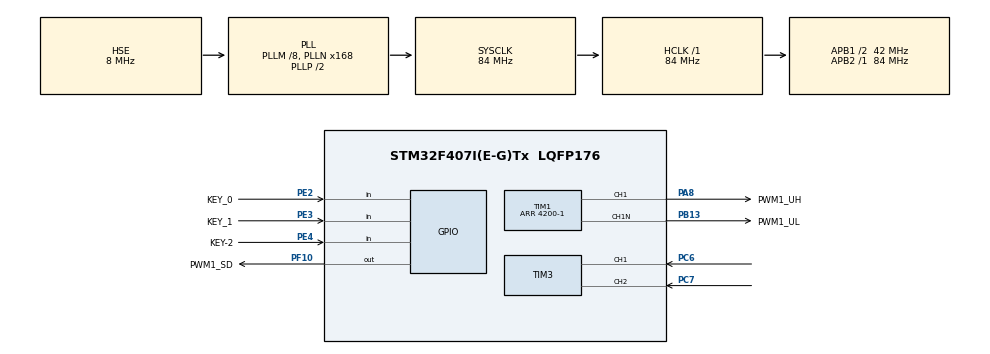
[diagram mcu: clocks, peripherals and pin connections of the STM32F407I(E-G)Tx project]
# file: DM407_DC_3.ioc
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Mcu.Family=STM32F4
Mcu.Name=STM32F407I(E-G)Tx
Mcu.Package=LQFP176
NVIC.PriorityGroup=NVIC_PRIORITYGROUP_4
NVIC.TIM6_DAC_IRQn=true\:0\:0\:false\:false\:true\:true\:true\:true
PA13.Mode=Serial_Wire
PA13.Signal=SYS_JTMS-SWDIO
PA14.Mode=Serial_Wire
PA14.Signal=SYS_JTCK-SWCLK
PA8.GPIO_Label=PWM1_UH
PA8.GPIO_Speed=GPIO_SPEED_FREQ_HIGH
PA8.Signal=S_TIM1_CH1
PB13.GPIO_Label=PWM1_UL
PB13.GPIO_Speed=GPIO_SPEED_FREQ_HIGH
PB13.Mode=PWM Generation1 CH1 CH1N
PB13.Signal=TIM1_CH1N
PC6.Signal=S_TIM3_CH1
PC7.Signal=S_TIM3_CH2
PE2.GPIO_Label=KEY_0
PE2.GPIO_PuPd=GPIO_PULLUP
PE2.Signal=GPIO_Input
PE3.GPIO_Label=KEY_1
PE3.GPIO_PuPd=GPIO_PULLUP
PE3.Signal=GPIO_Input
PE4.GPIO_Label=KEY-2
PE4.GPIO_PuPd=GPIO_PULLUP
PE4.Signal=GPIO_Input
PF10.GPIO_Label=PWM1_SD
PF10.GPIO_Speed=GPIO_SPEED_FREQ_HIGH
PF10.PinState=GPIO_PIN_RESET
PF10.Signal=GPIO_Output
PH0-OSC_IN.Mode=HSE-External-Oscillator
PH0-OSC_IN.Signal=RCC_OSC_IN
PH1-OSC_OUT.Mode=HSE-External-Oscillator
PH1-OSC_OUT.Signal=RCC_OSC_OUT
ProjectManager.HeapSize=0x200
ProjectManager.StackSize=0x400
ProjectManager.TargetToolchain=MDK-ARM V5.32
RCC.48MHZClocksFreq_Value=42000000
RCC.AHBFreq_Value=84000000
RCC.APB1CLKDivider=RCC_HCLK_DIV2
RCC.APB1Freq_Value=42000000
RCC.APB1TimFreq_Value=84000000
RCC.APB2Freq_Value=84000000
RCC.APB2TimFreq_Value=84000000
RCC.CortexFreq_Value=84000000
RCC.HCLKFreq_Value=84000000
RCC.HSE_VALUE=8000000
RCC.HSI_VALUE=16000000
RCC.LSE_VALUE=32768
RCC.PLLM=8
RCC.PLLN=168
RCC.PLLSourceVirtual=RCC_PLLSOURCE_HSE
RCC.SYSCLKFreq_VALUE=84000000
RCC.SYSCLKSource=RCC_SYSCLKSOURCE_PLLCLK
RCC.VCOOutputFreq_Value=168000000
SH.S_TIM1_CH1.0=TIM1_CH1,PWM Generation1 CH1 CH1N
SH.S_TIM3_CH1.0=TIM3_CH1,Encoder_Interface
SH.S_TIM3_CH2.0=TIM3_CH2,Encoder_Interface
TIM1.Channel-PWM\ Generation1\ CH1\ CH1N=TIM_CHANNEL_1
TIM1.ClockDivision=TIM_CLOCKDIVISION_DIV4
TIM1.OCNPolarity_1=TIM_OCNPOLARITY_LOW
TIM1.OCPolarity_1=TIM_OCPOLARITY_LOW
TIM1.OffStateRunMode=TIM_OSSR_ENABLE
TIM1.Period=4200-1
TIM3.EncoderMode=TIM_ENCODERMODE_TI12
TIM3.IC1Filter=10
TIM3.IC2Filter=10
TIM6.Period=1000-1
TIM6.Prescaler=84-1
VP_TIM6_VS_ClockSourceINT.Mode=Enable_Timer
board=custom

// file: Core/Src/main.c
/* USER CODE BEGIN Header */
/**
  ******************************************************************************
  * @file           : main.c
  * @brief          : Main program body
  ******************************************************************************
  * @attention
  *
  * Copyright (c) 2026 STMicroelectronics.
  * All rights reserved.
  *
  * This software is licensed under terms that can be found in the LICENSE file
  * in the root directory of this software component.
  * If no LICENSE file comes with this software, it is provided AS-IS.
  *
  ******************************************************************************
  */
/* USER CODE END Header */
#include "main.h"
#include "tim.h"
#include "gpio.h"
#include "pid.h"

/* USER CODE BEGIN PTD */
typedef enum
{
    MOTOR_STOP = 0,
    MOTOR_FORWARD,
    MOTOR_REVERSE
} MotorState;

/* USER CODE END PTD */

/* USER CODE BEGIN PD */
#define MOTOR_STP 400
#define MOTOR_MAX 4180
#define SPEED_STEP   30.0f     /* 每按一次，目标转速变化 30 RPM */
#define SPEED_MAX    300.0f    /* 目标转速上限 */
#define ENCODER_LINES 11.0f  /*编码器脉冲数*/
#define ENCODER_MUL    4.0f  /*编码器倍频数*/
#define MOTOR_GEAR_RATIO  30.0f /*电机减速比*/
#define COUNTS_PER_REV (ENCODER_LINES*ENCODER_MUL*MOTOR_GEAR_RATIO)  /*定时器TIM3计数个数*/
#define SPEED_SAMPLE_MS    50U     /* 每50 ms计算一次速度 */

/* USER CODE END PD */

/* USER CODE BEGIN PV */
static MotorState g_motor_state=MOTOR_STOP;
/* 上一次读取的编码器计数 */
static int16_t encoder_last = 0;

/* 最近50 ms内的编码器计数变化，方便调试观察 */
volatile int16_t g_encoder_delta = 0;

/* 最终计算得到的电机转速，单位RPM */
volatile float g_motor_speed_rpm = 0.0f;

/* PID 输出的 PWM 比较值，由 TIM6 中断写入 */
volatile int16_t g_motor_pwm = 0;

/* 1 = 允许闭环输出，0 = 禁止 */
volatile uint8_t g_run_flag = 0;
/* USER CODE END PV */

void SystemClock_Config(void);
/* USER CODE BEGIN PFP */

void Motor_Init(void);
void Motor_Start(void);
void Motor_Stop(void);
void Motor_SetDir(MotorState state);
void Motor_SetSpeed(uint16_t speed);
void Motor_Control(MotorState state, uint16_t speed);
uint8_t Key_Pressed(GPIO_TypeDef *GPIOx, uint16_t GPIO_Pin);
void Motor_pwm_set(int16_t motor_pwm);
void Motor_ApplyTarget(void);
/* USER CODE END PFP */

/* USER CODE BEGIN 0 */
void Motor_Init(void)
{
	 Motor_Stop();
	 Motor_SetSpeed(0);
	 g_motor_state = MOTOR_STOP;
}
void Motor_Start(void)
{
	HAL_GPIO_WritePin(PWM1_SD_GPIO_Port,PWM1_SD_Pin,GPIO_PIN_SET);
}
void Motor_Stop(void)
{
	HAL_TIM_PWM_Stop(&htim1,TIM_CHANNEL_1);
	HAL_TIMEx_PWMN_Stop(&htim1,TIM_CHANNEL_1);
    HAL_GPIO_WritePin(PWM1_SD_GPIO_Port,PWM1_SD_Pin, GPIO_PIN_RESET);
    g_motor_state=MOTOR_STOP;
}
/*
		方向控制函数
*/
void Motor_SetDir(MotorState state)
{
		HAL_TIM_PWM_Stop(&htim1, TIM_CHANNEL_1);
    HAL_TIMEx_PWMN_Stop(&htim1, TIM_CHANNEL_1);

		if(state==MOTOR_FORWARD)
		{
			HAL_TIM_PWM_Start(&htim1,TIM_CHANNEL_1);/*正转*/
		}
		else if(state==MOTOR_REVERSE)
		{
			HAL_TIMEx_PWMN_Start(&htim1,TIM_CHANNEL_1);/*反转*/
		}
}
/*
控制转速函数
*/

void Motor_SetSpeed(uint16_t speed)
{
	uint32_t max_speed;
  max_speed = __HAL_TIM_GET_AUTORELOAD(&htim1) - 0x0F;
	if(speed>max_speed)
	{
		speed=max_speed;
	}
	 __HAL_TIM_SET_COMPARE(&htim1, TIM_CHANNEL_1,speed);
}
void Motor_Control(MotorState state, uint16_t speed)
{

    if ((state == MOTOR_STOP) || (speed == 0U))
    {
        Motor_Stop();
        return;
    }

    /* 方向不变时，只更新速度，不重复启动 PWM */
    if (state == g_motor_state)
    {
        Motor_SetSpeed(speed);
        return;
    }

    /* 正反转直接切换时，先停止并延时 */
    if (g_motor_state != MOTOR_STOP)
    {
        Motor_Stop();
        HAL_Delay(50);
    }

    Motor_SetSpeed(speed);
    Motor_SetDir(state);
    Motor_Start();

    g_motor_state = state;

}
uint8_t Key_Pressed(GPIO_TypeDef *GPIOx, uint16_t GPIO_Pin)
{
	if(HAL_GPIO_ReadPin(GPIOx,GPIO_Pin)==GPIO_PIN_RESET)
	{
		HAL_Delay(50);
		if(HAL_GPIO_ReadPin(GPIOx,GPIO_Pin)==GPIO_PIN_RESET)
		{
			return 1;
		}
	}
	return 0;
}
void Motor_pwm_set(int16_t motor_pwm)
{
	if(motor_pwm>0)
	{
	Motor_Control(MOTOR_FORWARD,motor_pwm);
	}
	else if(motor_pwm<0)
	{
	Motor_Control(MOTOR_REVERSE,-motor_pwm);
	}
	else
	{
	Motor_Control(MOTOR_STOP,0);
	}
}

/* 目标为 0 就停机并清空 PID，否则放开闭环，PWM 由 TIM6 中断里的 PID 决定 */
void Motor_ApplyTarget(void)
{
    if (g_speed_pid.SetPoint == 0.0f)
    {
        g_run_flag  = 0;
        g_motor_pwm = 0;
        Motor_pwm_set(0);
        pid_init();             /* 清积分和历史误差，SetPoint 本来就是 0 */
    }
    else
    {
        g_run_flag = 1;
    }
}
/* USER CODE END 0 */

int main(void)
{

  /* MCU Configuration--------------------------------------------------------*/

  /* Reset of all peripherals, Initializes the Flash interface and the Systick. */
  HAL_Init();

  /* Configure the system clock */
  SystemClock_Config();

  /* Initialize all configured peripherals */
  MX_GPIO_Init();
  MX_TIM3_Init();
  MX_TIM6_Init();
  MX_TIM1_Init();
  /* USER CODE BEGIN 2 */
  Motor_Init();
	pid_init();                 /* 初始化速度环 PID */
	if (HAL_TIM_Encoder_Start(&htim3, TIM_CHANNEL_ALL) != HAL_OK)
{
    Error_Handler();
}

/* 编码器计数从0开始 */
		__HAL_TIM_SET_COUNTER(&htim3, 0);
		encoder_last = 0;

/* 启动TIM6，并使能1 ms更新中断 */
if (HAL_TIM_Base_Start_IT(&htim6) != HAL_OK)
{
    Error_Handler();
}
  /* USER CODE END 2 */
  /* Infinite loop */
  /* USER CODE BEGIN WHILE */
  while (1)
  {
		if (Key_Pressed(GPIOE, KEY_0_Pin))
        {
             g_speed_pid.SetPoint += SPEED_STEP;
					if(g_speed_pid.SetPoint > SPEED_MAX)
					{
						g_speed_pid.SetPoint = SPEED_MAX;
					}
						Motor_ApplyTarget();
        }
        else if (Key_Pressed(GPIOE, KEY_1_Pin))
        {
             g_speed_pid.SetPoint -= SPEED_STEP;
					if(g_speed_pid.SetPoint < -SPEED_MAX)
					{
						g_speed_pid.SetPoint = -SPEED_MAX;
					}
						Motor_ApplyTarget();
        }
        else if (Key_Pressed(GPIOE, KEY_2_Pin))
        {
						g_speed_pid.SetPoint = 0.0f;
            Motor_ApplyTarget();
        }

    /* USER CODE END WHILE */

  }
}

void SystemClock_Config(void)
{
  RCC_OscInitTypeDef RCC_OscInitStruct = {0};
  RCC_ClkInitTypeDef RCC_ClkInitStruct = {0};

  /** Configure the main internal regulator output voltage
  */
  __HAL_RCC_PWR_CLK_ENABLE();
  __HAL_PWR_VOLTAGESCALING_CONFIG(PWR_REGULATOR_VOLTAGE_SCALE1);

  /** Initializes the RCC Oscillators according to the specified parameters
  * in the RCC_OscInitTypeDef structure.
  */
  RCC_OscInitStruct.OscillatorType = RCC_OSCILLATORTYPE_HSE;
  RCC_OscInitStruct.HSEState = RCC_HSE_ON;
  RCC_OscInitStruct.PLL.PLLState = RCC_PLL_ON;
  RCC_OscInitStruct.PLL.PLLSource = RCC_PLLSOURCE_HSE;
  RCC_OscInitStruct.PLL.PLLM = 8;
  RCC_OscInitStruct.PLL.PLLN = 168;
  RCC_OscInitStruct.PLL.PLLP = RCC_PLLP_DIV2;
  RCC_OscInitStruct.PLL.PLLQ = 4;
  if (HAL_RCC_OscConfig(&RCC_OscInitStruct) != HAL_OK)
  {
    Error_Handler();
  }

  /** Initializes the CPU, AHB and APB buses clocks
  */
  RCC_ClkInitStruct.ClockType = RCC_CLOCKTYPE_HCLK|RCC_CLOCKTYPE_SYSCLK
                              |RCC_CLOCKTYPE_PCLK1|RCC_CLOCKTYPE_PCLK2;
  RCC_ClkInitStruct.SYSCLKSource = RCC_SYSCLKSOURCE_PLLCLK;
  RCC_ClkInitStruct.AHBCLKDivider = RCC_SYSCLK_DIV1;
  RCC_ClkInitStruct.APB1CLKDivider = RCC_HCLK_DIV2;
  RCC_ClkInitStruct.APB2CLKDivider = RCC_HCLK_DIV1;

  if (HAL_RCC_ClockConfig(&RCC_ClkInitStruct, FLASH_LATENCY_2) != HAL_OK)
  {
    Error_Handler();
  }
}

/* USER CODE BEGIN 4 */
void HAL_TIM_PeriodElapsedCallback(TIM_HandleTypeDef *htim)
{
    /* 只处理TIM6的1 ms中断 */
    if (htim->Instance == TIM6)
    {
        static uint8_t sample_count = 0;

        sample_count++;

        /* 累计50次1 ms中断，即50 ms */
        if (sample_count >= SPEED_SAMPLE_MS)
        {
            int16_t encoder_now;
            int16_t delta;
            float speed_now;
            sample_count = 0;

            /* 读取当前编码器计数 */
            encoder_now =(int16_t)__HAL_TIM_GET_COUNTER(&htim3);

            /* 计算本次与上次读取之间的计数变化 */
            delta = encoder_now - encoder_last;

            /* 保存当前计数，供50 ms后使用 */
            encoder_last = encoder_now;

            /* 保存计数变化，方便调试观察 */
            g_encoder_delta = delta;

            /* 将计数变化转换为输出轴RPM */
            speed_now = (float)delta *(60000.0f / SPEED_SAMPLE_MS) / COUNTS_PER_REV ;

            /* 一阶低通滤波，让显示更平稳 */
            g_motor_speed_rpm =
                0.48f * speed_now +
                0.52f * g_motor_speed_rpm;

            /* 速度环：每 50 ms 用最新转速算一次 PWM */
            if (g_run_flag)
            {
                int32_t pwm_temp;

                pwm_temp = increment_pid_ctrl(&g_speed_pid, g_motor_speed_rpm);

                /* 先限幅，再收窄到 int16_t，顺序反了会溢出回绕 */
                if (pwm_temp > MOTOR_MAX)
                {
                    pwm_temp = MOTOR_MAX;
                }
                else if (pwm_temp < -MOTOR_MAX)
                {
                    pwm_temp = -MOTOR_MAX;
                }

                g_motor_pwm = (int16_t)pwm_temp;
                Motor_pwm_set(g_motor_pwm);
            }
        }
    }
}
/* USER CODE END 4 */

void Error_Handler(void)
{
  __disable_irq();
  while (1)
  {
  }
}
